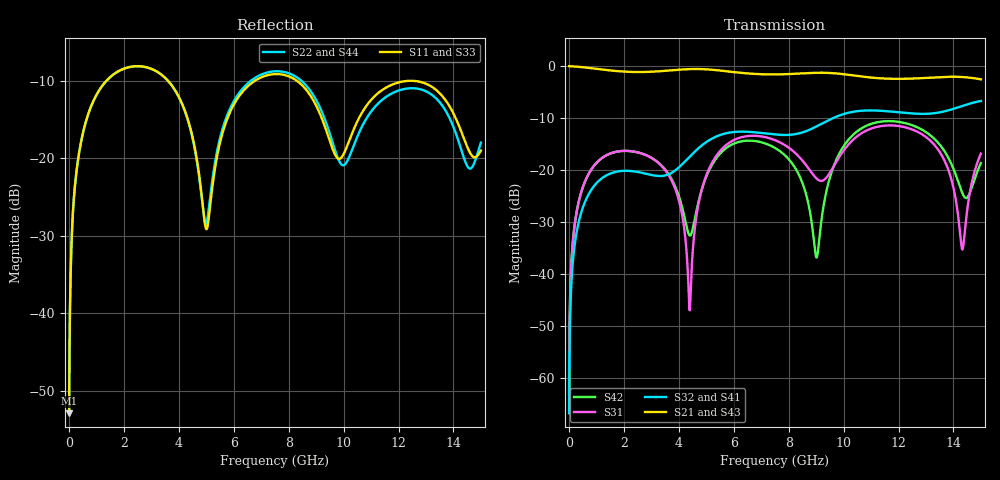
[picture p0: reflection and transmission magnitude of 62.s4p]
! Created with skrf 1.8.0 (http://scikit-rf.org).
# GHz S RI R 50.0
!freq ReS11 ImS11 ReS12 ImS12 ReS13 ImS13
! ReS14 ImS14
! ReS21 ImS21 ReS22 ImS22 ReS23 ImS23
! ReS24 ImS24
! ReS31 ImS31 ReS32 ImS32 ReS33 ImS33
! ReS34 ImS34
! ReS41 ImS41 ReS42 ImS42 ReS43 ImS43
! ReS44 ImS44
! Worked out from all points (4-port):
!   2499 points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, 5 MHz to 15 GHz, reference 50 ohm
!   strongest paths, dB at 5 MHz, 3.476 GHz, 7.19 GHz, 11.1 GHz, 15 GHz:
!     S21: 0.0, -0.9, -1.6, -2.3, -2.5
!     S43: 0.0, -0.9, -1.6, -2.3, -2.5
!     S32: -66.8, -21.1, -13.0, -8.5, -6.7
!     S41: -66.8, -21.2, -13.1, -8.6, -6.7
!     S31: -62.8, -19.8, -13.7, -11.9, -16.8
!     S42: -62.8, -19.7, -15.0, -11.0, -18.7
!   lowest |S11| = -52.9 dB at 5 MHz (marker M1), VSWR 1.00, Z = 50.2 + j0.137 ohm
!   |S11| at or under -10 dB: 3.616 GHz to 6.757 GHz (3.141 GHz wide, 60.6 % of centre); 8.311 GHz to 12.28 GHz (3.966 GHz wide, 38.5 % of centre); 12.62 GHz to end of sweep (the widest 3 of 4)
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0.005  0.0018 0.00137  0.9982 -0.0035  9.1e-05 0.000718  -8.83e-05 -0.00045
       0.9982 -0.0035  0.0018 0.00137  -8.83e-05 -0.00045  9.1e-05 0.000718
       9.1e-05 0.000718  -8.83e-05 -0.00045  0.0018 0.00137  0.9982 -0.0035
       -8.83e-05 -0.00045  9.1e-05 0.000718  0.9982 -0.0035  0.0018 0.00137
0.3626511  0.0354 0.1012  0.9511 -0.2492  0.0171 0.0477  -0.0141 -0.0291
           0.9511 -0.2492  0.0354 0.1012  -0.0141 -0.0291  0.0171 0.0477
           0.0171 0.0477  -0.0141 -0.0291  0.0354 0.1012  0.9511 -0.2492
           -0.0141 -0.0291  0.0171 0.0477  0.9511 -0.2492  0.0354 0.1012
1.825761  0.3454 0.1268  0.3531 -0.8186  0.1486 0.0301  -0.0937 0.0254
          0.3531 -0.8186  0.3451 0.127  -0.094 0.0258  0.1489 0.0293
          0.1486 0.0301  -0.094 0.0258  0.3452 0.127  0.3531 -0.8186
          -0.0937 0.0254  0.1489 0.0293  0.3531 -0.8186  0.3453 0.1268
4.394545  0.0858 -0.1386  -0.8377 -0.4161  -0.0043 -0.00125  -0.0576 0.1215
          -0.8377 -0.4161  0.0868 -0.1351  -0.0547 0.1229  -0.0216 -0.00931
          -0.0043 -0.00125  -0.0547 0.1229  0.0863 -0.1382  -0.8377 -0.416
          -0.0576 0.1215  -0.0216 -0.00931  -0.8377 -0.416  0.0862 -0.1353
7.571905  0.3507 -0.00305  -0.0745 0.8283  0.1623 -0.1001  0.2118 -0.0442
          -0.0745 0.8283  0.3654 -0.0168  0.2126 -0.0525  0.1543 -0.0391
          0.1623 -0.1001  0.2126 -0.0525  0.3498 -0.000643  -0.0743 0.828
          0.2118 -0.0442  0.1543 -0.0391  -0.0743 0.828  0.3677 -0.0186
10.28554  0.1296 0.057  0.8167 -0.036  0.0194 0.1879  -0.0323 -0.359
          0.8167 -0.036  0.1072 0.0284  -0.0473 -0.358  0.079 0.1952
          0.0194 0.1879  -0.0473 -0.358  0.1295 0.0523  0.8168 -0.0357
          -0.0323 -0.359  0.079 0.1952  0.8168 -0.0357  0.1082 0.0303
15  0.1118 0.0129  -0.7246 -0.1788  0.0671 0.1273  -0.1011 0.4508
    -0.7246 -0.1788  0.1078 0.0662  -0.069 0.4566  -0.0249 0.1141
    0.0671 0.1273  -0.069 0.4566  0.1187 0.0123  -0.7247 -0.1777
    -0.1011 0.4508  -0.0249 0.1141  -0.7247 -0.1777  0.0963 0.0705
